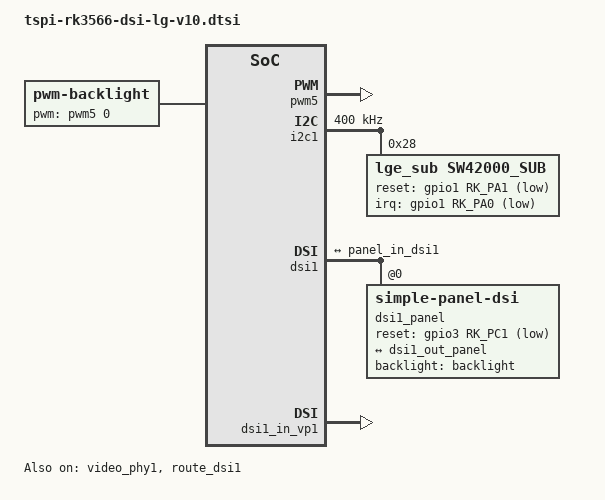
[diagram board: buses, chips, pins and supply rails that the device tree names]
// SPDX-License-Identifier: (GPL-2.0+ OR MIT)
/*
 * Copyright (c) 2020 Rockchip Electronics Co., Ltd.
 * LG AMOLED屏
 *********************************************************************/
 / {
	backlight: backlight {
		compatible = "pwm-backlight";
		pwms = <&pwm5 0 25000 0>;
		brightness-levels = <
			  0  20  20  21  21  22  22  23
			 23  24  24  25  25  26  26  27
			 27  28  28  29  29  30  30  31
			 31  32  32  33  33  34  34  35
			 35  36  36  37  37  38  38  39
			 40  41  42  43  44  45  46  47
			 48  49  50  51  52  53  54  55
			 56  57  58  59  60  61  62  63
			 64  65  66  67  68  69  70  71
			 72  73  74  75  76  77  78  79
			 80  81  82  83  84  85  86  87
			 88  89  90  91  92  93  94  95
			 96  97  98  99 100 101 102 103
			104 105 106 107 108 109 110 111
			112 113 114 115 116 117 118 119
			120 121 122 123 124 125 126 127
			128 129 130 131 132 133 134 135
			136 137 138 139 140 141 142 143
			144 145 146 147 148 149 150 151
			152 153 154 155 156 157 158 159
			160 161 162 163 164 165 166 167
			168 169 170 171 172 173 174 175
			176 177 178 179 180 181 182 183
			184 185 186 187 188 189 190 191
			192 193 194 195 196 197 198 199
			200 201 202 203 204 205 206 207
			208 209 210 211 212 213 214 215
			216 217 218 219 220 221 222 223
			224 225 226 227 228 229 230 231
			232 233 234 235 236 237 238 239
			240 241 242 243 244 245 246 247
			248 249 250 251 252 253 254 255
		>;
		default-brightness-level = <255>;
	};
};

&pwm5 {
	status = "okay";
};


&pinctrl {
	dsi1 {
		dsi1_rst_gpio: dsi1-rst-gpio {
			rockchip,pins = <3 RK_PC1 RK_FUNC_GPIO &pcfg_pull_none>;
		};

        touch_gpio: touch-gpio {
			rockchip,pins = <1 RK_PA0 RK_FUNC_GPIO &pcfg_pull_up>;
		};
	};
};

//用户I2C1
&i2c1 {
	status = "okay";
	clock-frequency = <400000>;

	sw42000_sub: sw42000_sub@28 {
        status = "okay";
        compatible = "lge_sub,sw42000_sub";
        reg = <0x28>;

        irqflags = <IRQ_TYPE_EDGE_FALLING>;
        reset-gpio = <&gpio1 RK_PA1 GPIO_ACTIVE_LOW>;
        irq-gpio = <&gpio1 RK_PA0 GPIO_ACTIVE_LOW>;

        /* Caps */
        max_x = <1080>;
        max_y = <1240>;
        max_pressure = <0xff>;
        max_width_major = <1080>;
        max_width_minor = <1240>;
        max_orientation = <90>;
        max_id = <10>;
        hw_reset_delay = <40>;
        sw_reset_delay = <40>;

        /* role */
        use_lpwg = <1>;
        use_lpwg_test = <1>;
        hide_coordinate = <1>;
        use_activepen_status = <0>;
        use_film_status = <1>;
        use_dex_mode = <1>;

        /* Firmware */
        fw_image = "touch/winglm/V1W39WING_v0.18.img";
        panel_spec = "touch/winglm/wing_sw42000_limit.txt";
        panel_spec_mfts_folder = "touch/winglm/wing_sw42000_limit.txt";

        /* Performance Test */
        use_perf_test = <1>;
        test_delay = <8>;
        test_pressure = <50>;
        test_width = <100>;
        click_test_x = <180>;
        click_test_y = <838>;
        v_drag_test_x = <144>;
        v_drag_test_start_y = <2103>;
        v_drag_test_end_y = <1216>;
        h_drag_test_start_x = <1163>;
        h_drag_test_end_x = <276>;
        h_drag_test_y = <2284>;
    };

};


/*
 * video_phy1 needs to be enabled
 * when dsi1 is enabled
 */
&dsi1 {
	status = "okay";
};

&dsi1_in_vp0 {
	status = "disabled";
};

&dsi1_in_vp1 {
	status = "okay";
};

&video_phy1 {
	status = "okay";
};

&route_dsi1 {
	status = "okay";
	connect = <&vp1_out_dsi1>;
};

//LG 3.92寸 1080x1240 AMOLED  532
&dsi1 {
	status = "okay";
	rockchip,lane-rate = <600>;
	dsi1_panel: panel@0 {
		status = "okay";
		compatible =  "simple-panel-dsi";
		reset-gpios = <&gpio3 RK_PC1 GPIO_ACTIVE_LOW>;
		pinctrl-names = "default";
		pinctrl-0 = <&dsi1_rst_gpio>;
		reg = <0>;
		backlight = <&backlight>;
		enable-delay-ms = <35>;
        prepare-delay-ms = <6>;
        reset-delay-ms = <25>;
        unprepare-delay-ms = <0>;
        disable-delay-ms = <20>;
        init-delay-ms = <130>;
        mipi-data-delay-ms = <200>;

		dsi,flags = <(MIPI_DSI_MODE_VIDEO | MIPI_DSI_MODE_VIDEO_BURST | MIPI_DSI_MODE_LPM | MIPI_DSI_MODE_EOT_PACKET)>;
		dsi,format = <MIPI_DSI_FMT_RGB888>;
		dsi,lanes  = <4>;

		panel-init-sequence = [
        15 00 02 FE 00
        15 00 02 C2 08
        15 00 02 35 00
        39 00 03 51 07 FF
        05 78 01 11
        05 50 01 29
		];
		panel-exit-sequence = [
			05 00 01 28
			05 00 01 10
		];

		disp_timings1: display-timings {
			native-mode = <&dsi1_timing0>;
			dsi1_timing0: timing0 {
				clock-frequency = <88000000>;
				hactive = <1080>;
				vactive = <1240>;
				hfront-porch = <40>;
				hsync-len = <4>;
				hback-porch = <40>;
				vfront-porch = <16>;
				vsync-len = <4>;
				vback-porch = <20>;
				hsync-active = <0>;
				vsync-active = <0>;
				de-active = <0>;
				pixelclk-active = <1>;
			};
		};

		ports {
			#address-cells = <1>;
			#size-cells = <0>;

			port@0 {
				reg = <0>;
				panel_in_dsi1: endpoint {
					remote-endpoint = <&dsi1_out_panel>;
				};
			};
		};
	};

	ports {
		#address-cells = <1>;
		#size-cells = <0>;

		port@1 {
			reg = <1>;
			dsi1_out_panel: endpoint {
				remote-endpoint = <&panel_in_dsi1>;
			};
		};
	};
};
